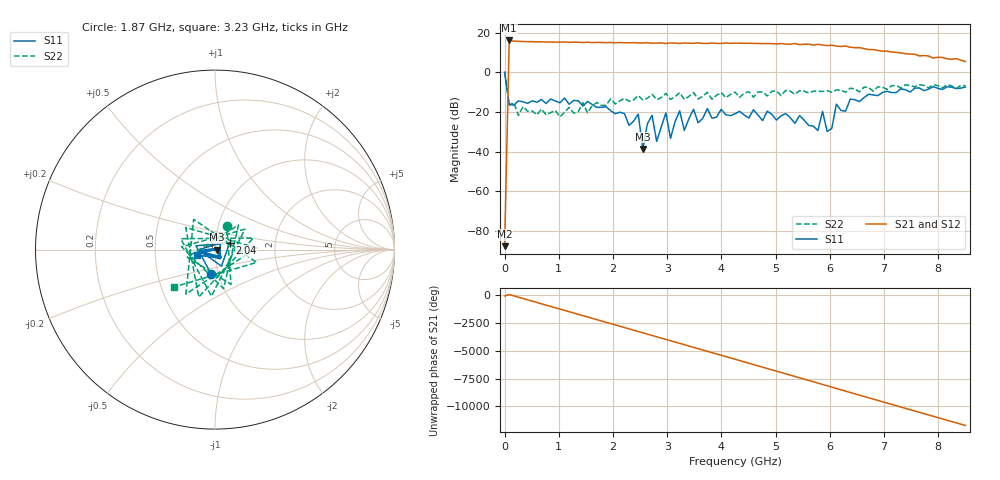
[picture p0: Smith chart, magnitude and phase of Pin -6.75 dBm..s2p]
! RsaToolbox (C) 2013 Rohde & Schwarz America
! Number of points: 101
! Number of ports: 2
! Balanced ports?: 0
# Hz S RI R 50
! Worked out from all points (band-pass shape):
!   101 points, 9 kHz to 8.5 GHz, reference 50 ohm
!   highest |S21| = 16.07 dB at 85.01 MHz (marker M1); lowest = -87.6 dB at 9 kHz (marker M2)
!   |S21| within 3 dB of the highest: 82.55 MHz to 6.193 GHz (6.111 GHz wide, 195 % of centre); 6.217 GHz to 6.316 GHz (99.86 MHz wide, 1.59 % of centre)
!   lowest |S11| = -38.6 dB at 2.55 GHz (marker M3), VSWR 1.02, Z = 51.2 + j0.0122 ohm
!   |S11| at or under -10 dB: 53.31 MHz to 6.99 GHz (6.937 GHz wide, 197 % of centre); 7.113 GHz to 7.233 GHz (120 MHz wide, 1.67 % of centre)
!   |S22| runs from -22.4 to 0.2 dB; largest |S21 - S12| = 0
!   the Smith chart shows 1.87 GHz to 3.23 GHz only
!   S11 on the Smith chart (normalised r, x): 1.87 GHz: 0.92, -0.25; 2.04 GHz: 1.18, +0.09; 3.23 GHz: 0.81, -0.05
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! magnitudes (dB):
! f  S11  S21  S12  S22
! 9 kHz  0.1  -87.6  -87.6  0.2
! 85.01 MHz  -16.0  16.1  16.1  -16.6
! 1.02 GHz  -15.3  15.2  15.2  -22.4
! 1.445 GHz  -17.0  15.0  15.0  -15.3
! 1.87 GHz  -17.3  15.0  15.0  -16.6
! 2.04 GHz  -20.9  14.9  14.9  -15.9
! 2.465 GHz  -21.1  14.8  14.8  -11.7
! 2.55 GHz  -38.6  14.8  14.8  -14.0
! 2.72 GHz  -21.7  14.7  14.7  -11.1
! 2.805 GHz  -34.8  14.7  14.7  -13.8
! 2.89 GHz  -27.5  14.8  14.8  -12.7
! 2.975 GHz  -20.5  14.5  14.5  -10.6
! 3.06 GHz  -33.3  14.8  14.8  -13.7
! 3.23 GHz  -19.4  14.6  14.6  -10.2
! 3.315 GHz  -29.3  14.8  14.8  -13.6
! 3.485 GHz  -18.6  14.6  14.6  -10.2
! 3.57 GHz  -25.4  14.8  14.8  -13.4
! 4.25 GHz  -20.9  14.7  14.7  -9.9
! 5.695 GHz  -27.1  13.7  13.7  -9.5
! 6.12 GHz  -16.0  13.3  13.3  -8.8
! 7.14 GHz  -10.2  10.2  10.2  -6.8
! 8.5 GHz  -7.4  5.5  5.5  -6.7
